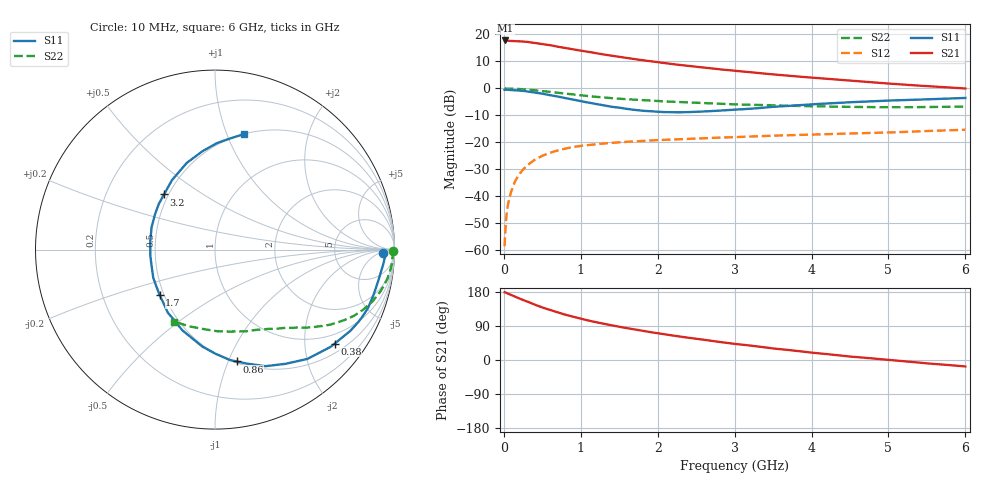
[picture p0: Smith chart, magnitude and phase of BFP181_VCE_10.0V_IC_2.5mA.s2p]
! Infineon Technologies  Discrete & RF Semiconductors
! BFP181
! VCE = 10.0V,  IC =  2.5 mA
! Common Emitter S-Parameters:  Jan 2016
# GHz  S  MA  R  50
!  f  S11  S21  S12  S22
! GHz  MAG  ANG  MAG  ANG  MAG  ANG  MAG  ANG
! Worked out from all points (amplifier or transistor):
!   210 points, 10 MHz to 6 GHz, reference 50 ohm
!   highest |S21| = 17.7 dB at 20 MHz (marker M1)
!   |S21| within 3 dB of that: start of sweep to 848.6 MHz
!   unconditionally stable (mu >= 1): 2.442 GHz to end of sweep
!   at 185 MHz: K = 0.11, MSG = 24.9 dB, |S12| = -32.5 dB
!   at 1.52 GHz: K = 0.72, MSG = 15.8 dB, |S12| = -19.9 dB
!   at 6 GHz: K = 1.13, MAG = 5.4 dB, |S12| = -15.3 dB
!   S11 on the Smith chart (normalised r, x): 10 MHz: 28, -9; 380 MHz: 0.73, -2.71; 860 MHz: 0.51, -1.07; 1.7 GHz: 0.47, -0.29; 3.2 GHz: 0.47, +0.35; 6 GHz: 0.50, +1.15
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0.01  0.9379 -1.2  7.684 178.7  0.0012 83.0  0.994 -0.4
0.02  0.9484 -2.3  7.691 178.4  0.0024 88.9  0.9911 -0.9
0.05  0.9411 -4.9  7.602 175.4  0.0066 87.4  0.9901 -2.5
0.12  0.923 -12.4  7.487 169.5  0.0155 81.6  0.9853 -5.9
0.24  0.9013 -24.8  7.355 159.1  0.0302 75.3  0.9645 -11.5
0.3  0.8794 -31.0  7.251 154.7  0.0369 71.1  0.9498 -14.3
0.38  0.8475 -38.2  6.986 148.0  0.0454 67.2  0.9282 -17.5
0.5  0.7975 -49.8  6.594 138.6  0.0564 60.9  0.8913 -22.0
0.6  0.7479 -58.3  6.307 131.8  0.0643 56.5  0.8576 -25.5
0.7  0.7078 -66.6  5.9 125.5  0.0708 52.7  0.8244 -28.3
0.86  0.6349 -79.0  5.409 116.4  0.0799 47.2  0.7788 -32.0
1.02  0.5724 -91.2  4.927 108.0  0.0868 42.8  0.7367 -35.2
1.32  0.4787 -113.4  4.183 94.8  0.0959 36.5  0.6727 -40.2
1.5  0.4393 -126.6  3.84 87.6  0.1004 33.9  0.6416 -42.5
1.7  0.3994 -140.5  3.468 80.6  0.1046 31.4  0.616 -45.1
2.02  0.367 -163.4  3.017 70.0  0.1104 28.5  0.5799 -48.9
2.4  0.364 171.8  2.604 58.7  0.1165 25.5  0.5472 -53.8
3.1  0.41 136.7  2.048 40.5  0.1267 21.5  0.5009 -63.4
3.2  0.4185 132.7  1.984 38.2  0.1282 21.0  0.4966 -64.9
4.1  0.5156 105.7  1.538 17.6  0.141 16.6  0.4629 -80.5
5.1  0.5994 87.5  1.198 -1.5  0.1539 12.8  0.447 -100.6
6  0.6636 75.9  0.994 -17.0  0.1713 9.1  0.4616 -119.7
